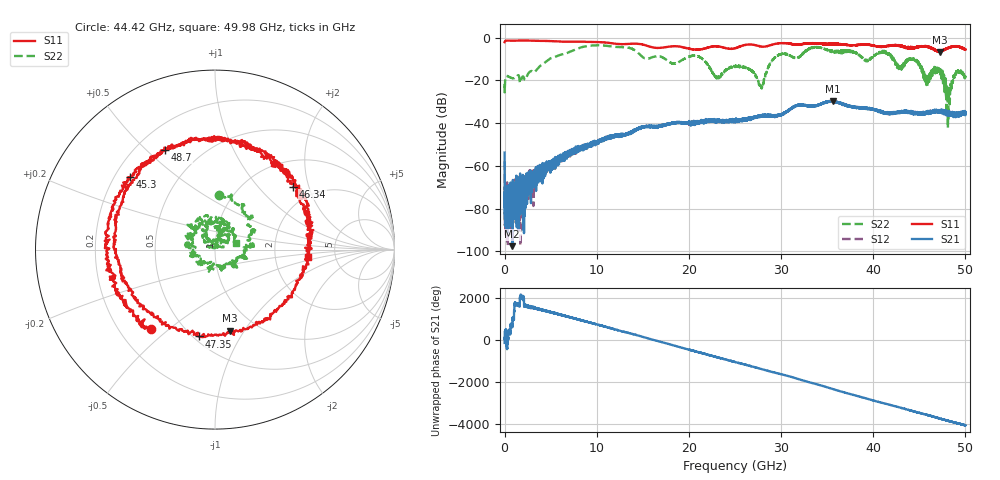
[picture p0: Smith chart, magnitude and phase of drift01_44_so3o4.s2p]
!Created with skrf (http://scikit-rf.org).
# Hz S RI R 50.0
!freq ReS11 ImS11 ReS21 ImS21 ReS12 ImS12 ReS22 ImS22
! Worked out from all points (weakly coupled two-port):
!   10001 points, 300 kHz to 50 GHz, reference 50 ohm
!   highest |S21| = -29.65 dB at 35.59 GHz (marker M1); lowest = -97.5 dB at 835.3 MHz (marker M2)
!   lowest |S11| = -6.8 dB at 47.21 GHz (marker M3), VSWR 2.69, Z = 37.9 - j43.2 ohm
!   |S11| at or under -10 dB: nowhere
!   |S22| runs from -42.4 to -3.6 dB; largest |S21 - S12| = 0.0044
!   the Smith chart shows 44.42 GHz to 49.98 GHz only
!   S11 on the Smith chart (normalised r, x): 44.42 GHz: 0.33, -0.44; 45.3 GHz: 0.26, +0.35; 46.34 GHz: 1.56, +1.60; 47.35 GHz: 0.53, -0.68; 48.7 GHz: 0.32, +0.57; 49.98 GHz: 3.13, -0.35
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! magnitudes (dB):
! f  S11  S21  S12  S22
! 300 kHz  -2.2  -53.8  -57.9  -21.8
! 255.3 MHz  -1.4  -75.0  -79.5  -18.0
! 835.3 MHz  -1.5  -97.5  -76.9  -19.0
! 8.335 GHz  -2.0  -51.7  -51.2  -4.6
! 16.67 GHz  -4.8  -41.4  -41.8  -8.7
! 20.96 GHz  -5.6  -39.3  -39.7  -8.7
! 23.07 GHz  -4.1  -38.7  -38.7  -18.5
! 25 GHz  -5.0  -39.0  -38.8  -13.7
! 27.84 GHz  -4.1  -36.4  -36.4  -22.7
! 29.48 GHz  -2.8  -36.8  -36.6  -8.8
! 33.34 GHz  -2.6  -32.0  -32.0  -4.7
! 35.59 GHz  -2.9  -29.7  -29.7  -6.4
! 41.67 GHz  -3.9  -35.1  -35.4  -7.5
! 44.42 GHz  -4.9  -35.9  -35.4  -10.4
! 45.3 GHz  -4.1  -35.1  -35.4  -15.9
! 46.34 GHz  -5.0  -34.9  -34.8  -16.9
! 47.21 GHz  -6.8  -34.4  -34.4  -16.7
! 47.35 GHz  -6.2  -34.8  -34.7  -15.9
! 48.13 GHz  -4.9  -35.4  -35.4  -33.7
! 48.7 GHz  -4.1  -36.0  -36.2  -18.6
! 49.98 GHz  -5.7  -34.7  -35.2  -18.3
! 50 GHz  -5.6  -34.8  -35.4  -18.6
